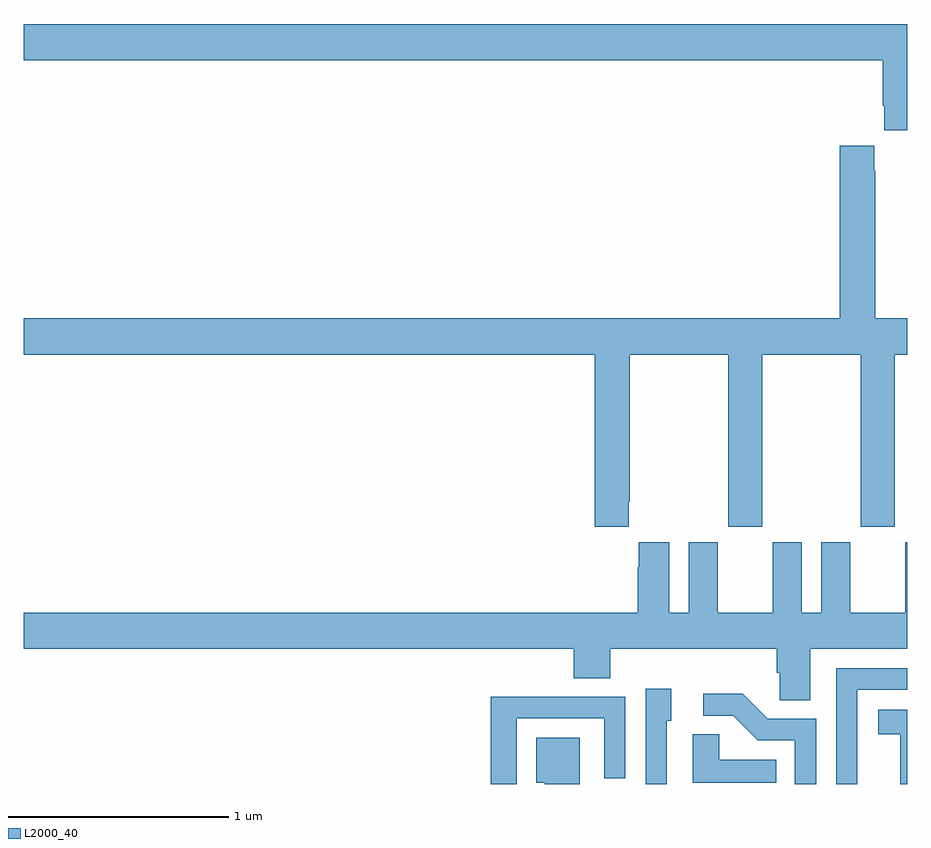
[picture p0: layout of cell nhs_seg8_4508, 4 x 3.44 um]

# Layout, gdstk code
import gdstk
lib = gdstk.Library(unit=1e-6, precision=1e-09)
def P(c, l, *ps):  # polygons
    for p in ps: c.add(gdstk.Polygon(p, *l))
L2000_40 = (2000, 40)

nhs_seg8_4508 = lib.new_cell('nhs_seg8_4508')
P(nhs_seg8_4508, L2000_40, [(389,1107.34),(385,1107.34),(385,1107.176),(388.889,1107.176),(388.889,1106.971),(388.895,1106.971),(388.895,1106.859),(389,1106.859)],
  [(387.739,1105.177),(387.744,1105.177),(387.744,1105.844),(388.189,1105.844),(388.189,1105.065),(388.344,1105.065),(388.344,1105.844),(388.789,1105.844),(388.789,1105.065),(388.944,1105.065),(388.944,1105.844),(389,1105.844),(389,1106.008),(388.854,1106.008),(388.854,1106.675),(388.849,1106.675),(388.849,1106.788),(388.694,1106.788),(388.694,1106.008),(385,1106.008),(385,1105.844),(387.584,1105.844),(387.584,1105.065),(387.739,1105.065)],
  [(388.561,1104.512),(389,1104.512),(389,1104.994),(388.991,1104.994),(388.991,1104.676),(388.741,1104.676),(388.741,1104.994),(388.61,1104.994),(388.61,1104.676),(388.522,1104.676),(388.522,1104.994),(388.391,1104.994),(388.391,1104.676),(388.141,1104.676),(388.141,1104.994),(388.01,1104.994),(388.01,1104.676),(387.922,1104.676),(387.922,1104.994),(387.785,1104.994),(387.785,1104.881),(387.779,1104.881),(387.779,1104.676),(385,1104.676),(385,1104.512),(387.491,1104.512),(387.491,1104.379),(387.656,1104.379),(387.656,1104.512),(388.409,1104.512),(388.409,1104.403),(388.422,1104.403),(388.422,1104.28),(388.561,1104.28)],
  [(388.773,1104.327),(389,1104.327),(389,1104.423),(388.677,1104.423),(388.677,1103.9),(388.773,1103.9)],
  [(387.912,1104.186),(387.931,1104.186),(387.931,1104.331),(387.816,1104.331),(387.816,1103.9),(387.912,1103.9)],
  [(388.587,1104.195),(388.368,1104.195),(388.255,1104.308),(388.077,1104.308),(388.077,1104.21),(388.211,1104.21),(388.322,1104.099),(388.491,1104.099),(388.491,1103.9),(388.587,1103.9)],
  [(387.231,1104.198),(387.627,1104.198),(387.627,1103.925),(387.723,1103.925),(387.723,1104.294),(387.407,1104.294),(387.407,1104.296),(387.115,1104.296),(387.115,1103.9),(387.231,1103.9)],
  [(389,1104.235),(388.869,1104.235),(388.869,1104.125),(388.967,1104.125),(388.967,1103.9),(389,1103.9)],
  [(388.406,1104.01),(388.149,1104.01),(388.149,1104.125),(388.028,1104.125),(388.028,1103.906),(388.406,1103.906)],
  [(387.517,1104.109),(387.32,1104.109),(387.32,1103.906),(387.359,1103.906),(387.359,1103.9),(387.517,1103.9)])

lib.write_gds('nhs_seg8_4508.gds')
